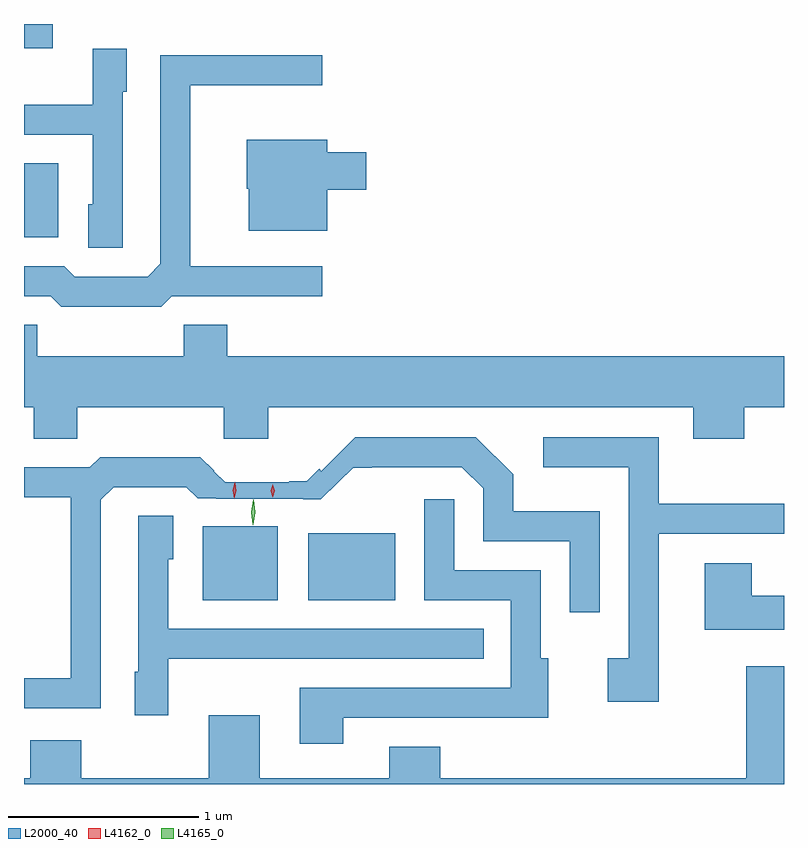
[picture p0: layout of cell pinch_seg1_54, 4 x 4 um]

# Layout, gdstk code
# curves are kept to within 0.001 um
import gdstk
lib = gdstk.Library(unit=1e-6, precision=1e-09)
def R(c, l, rs):  # rectangles x0, y0, x1, y1
    for r in rs: c.add(gdstk.rectangle(r[:2], r[2:], *l))
def P(c, l, *ps):  # polygons
    for p in ps: c.add(gdstk.Polygon(p, *l))
L2000_40 = (2000, 40)
L4162_0 = (4162, 0)
L4165_0 = (4165, 0)

pinch_seg1_54 = lib.new_cell('pinch_seg1_54')
R(pinch_seg1_54, L2000_40, [(1388.121,900.781,1388.514,901.169), (1388.676,900.781,1389.134,901.134), (1387.179,902.691,1387.359,903.079), (1387.179,903.686,1387.329,903.813)])
P(pinch_seg1_54, L2000_40, [(1387.699,903.456),(1387.719,903.456),(1387.719,903.684),(1387.541,903.684),(1387.541,903.389),(1387.179,903.389),(1387.179,903.231),(1387.541,903.231),(1387.541,902.864),(1387.516,902.864),(1387.516,902.636),(1387.699,902.636)],
  [(1387.957,902.381),(1388.748,902.381),(1388.748,902.539),(1388.054,902.539),(1388.054,903.491),(1388.748,903.491),(1388.748,903.649),(1387.896,903.649),(1387.896,902.552),(1387.829,902.484),(1387.447,902.484),(1387.392,902.539),(1387.179,902.539),(1387.179,902.381),(1387.319,902.381),(1387.374,902.326),(1387.902,902.326)],
  [(1388.774,902.941),(1388.979,902.941),(1388.979,903.139),(1388.774,903.139),(1388.774,903.204),(1388.351,903.204),(1388.351,902.945),(1388.361,902.945),(1388.361,902.726),(1388.774,902.726)],
  [(1387.459,901.796),(1388.231,901.796),(1388.231,901.631),(1388.464,901.631),(1388.464,901.796),(1390.701,901.796),(1390.701,901.631),(1390.969,901.631),(1390.969,901.796),(1391.179,901.796),(1391.179,902.064),(1388.249,902.064),(1388.249,902.229),(1388.021,902.229),(1388.021,902.064),(1387.249,902.064),(1387.249,902.229),(1387.179,902.229),(1387.179,901.796),(1387.231,901.796),(1387.231,901.631),(1387.459,901.631)],
  [(1390.519,901.131),(1391.179,901.131),(1391.179,901.289),(1390.519,901.289),(1390.519,901.639),(1389.913,901.639),(1389.913,901.481),(1390.361,901.481),(1390.361,900.474),(1390.251,900.474),(1390.251,900.246),(1390.519,900.246)],
  [(1387.584,901.309),(1387.652,901.376),(1388.034,901.376),(1388.093,901.317),(1388.19,901.317),(1388.19,901.314),(1388.742,901.313),(1388.832,901.402),(1388.834,901.401),(1388.911,901.478),(1389.009,901.478),(1389.009,901.481),(1389.484,901.481),(1389.596,901.369),(1389.596,901.091),(1390.051,901.091),(1390.051,900.718),(1390.209,900.718),(1390.209,901.249),(1389.754,901.249),(1389.754,901.442),(1389.557,901.639),(1388.923,901.639),(1388.743,901.46),(1388.732,901.471),(1388.667,901.406),(1388.575,901.406),(1388.575,901.4),(1388.238,901.4),(1388.178,901.459),(1388.18,901.461),(1388.107,901.534),(1387.579,901.534),(1387.524,901.479),(1387.179,901.479),(1387.179,901.321),(1387.426,901.321),(1387.426,900.369),(1387.179,900.369),(1387.179,900.211),(1387.584,900.211)],
  [(1388.859,900.161),(1389.939,900.161),(1389.939,900.474),(1389.899,900.474),(1389.899,900.939),(1389.444,900.939),(1389.444,901.313),(1389.286,901.313),(1389.286,900.781),(1389.741,900.781),(1389.741,900.319),(1388.631,900.319),(1388.631,900.026),(1388.859,900.026)],
  [(1387.939,900.471),(1389.598,900.471),(1389.598,900.629),(1387.939,900.629),(1387.939,900.996),(1387.964,900.996),(1387.964,901.224),(1387.781,901.224),(1387.781,900.404),(1387.761,900.404),(1387.761,900.176),(1387.939,900.176)],
  [(1391.179,900.804),(1391.009,900.804),(1391.009,900.974),(1390.761,900.974),(1390.761,900.626),(1391.179,900.626)],
  [(1391.179,900.434),(1390.981,900.434),(1390.981,899.844),(1389.369,899.844),(1389.369,900.009),(1389.101,900.009),(1389.101,899.844),(1388.419,899.844),(1388.419,900.174),(1388.151,900.174),(1388.151,899.844),(1387.479,899.844),(1387.479,900.044),(1387.211,900.044),(1387.211,899.844),(1387.179,899.844),(1387.179,899.813),(1391.179,899.813)])
P(pinch_seg1_54, L4162_0, [(1388.489,901.322),(1388.488,901.323),(1388.478,901.356),(1388.487,901.389),(1388.488,901.39),(1388.488,901.389),(1388.498,901.356),(1388.489,901.323)],
  [(1388.285,901.316),(1388.285,901.317),(1388.277,901.358),(1388.289,901.398),(1388.289,901.398),(1388.29,901.398),(1388.297,901.357),(1388.286,901.317)])
P(pinch_seg1_54, L4165_0, [(1388.384,901.177),(1388.376,901.243),(1388.386,901.309),(1388.386,901.31),(1388.387,901.309),(1388.396,901.243),(1388.385,901.177),(1388.385,901.177)])

lib.write_gds('pinch_seg1_54.gds')
